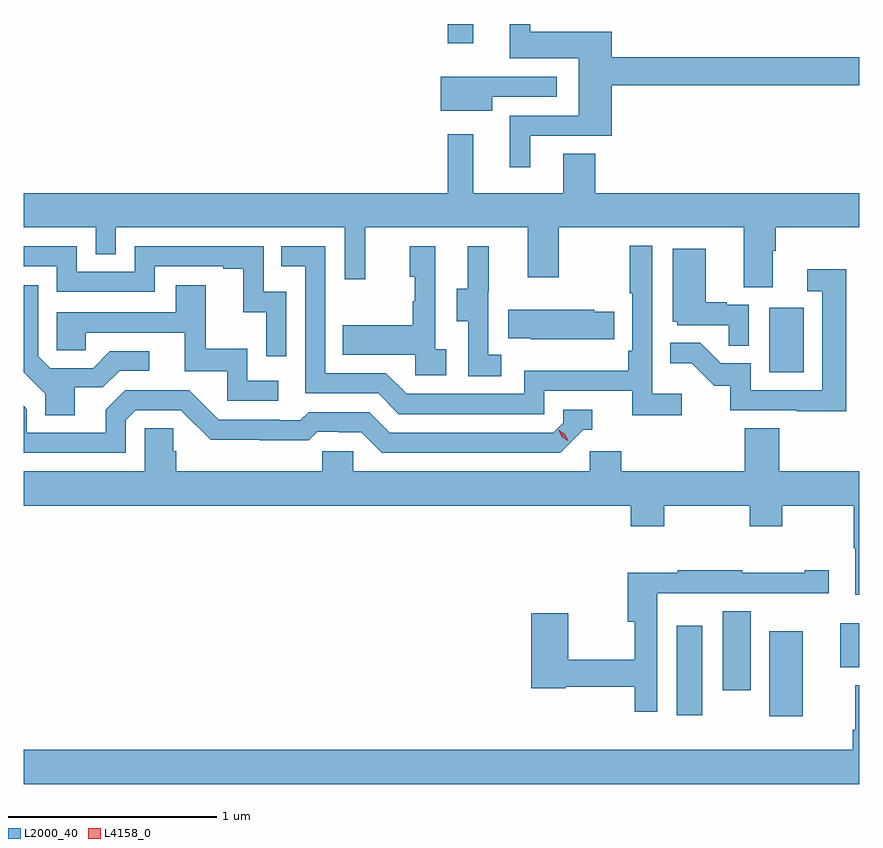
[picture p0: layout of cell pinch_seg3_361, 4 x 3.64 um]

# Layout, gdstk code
import gdstk
lib = gdstk.Library(unit=1e-6, precision=1e-09)
def R(c, l, rs):  # rectangles x0, y0, x1, y1
    for r in rs: c.add(gdstk.rectangle(r[:2], r[2:], *l))
def P(c, l, *ps):  # polygons
    for p in ps: c.add(gdstk.Polygon(p, *l))
L2000_40 = (2000, 40)
L4158_0 = (4158, 0)

pinch_seg3_361 = lib.new_cell('pinch_seg3_361')
R(pinch_seg3_361, L2000_40, [(1014.512,694.581,1014.673,694.987), (1014.068,694.584,1014.19,695.014), (1014.29,694.704,1014.424,695.084), (1014.851,694.814,1014.943,695.026), (1014.512,696.228,1014.676,696.535), (1012.974,697.803,1013.095,697.894)])
P(pinch_seg3_361, L2000_40, [(1013.368,697.359),(1013.759,697.359),(1013.759,697.6),(1014.943,697.6),(1014.943,697.736),(1013.759,697.736),(1013.759,697.858),(1013.368,697.858),(1013.368,697.894),(1013.27,697.894),(1013.27,697.73),(1013.6,697.73),(1013.6,697.455),(1013.27,697.455),(1013.27,697.209),(1013.368,697.209)],
  [(1013.185,697.545),(1013.494,697.545),(1013.494,697.641),(1013.181,697.641),(1013.181,697.642),(1012.94,697.642),(1012.94,697.478),(1013.185,697.478)],
  [(1014.529,696.808),(1014.542,696.808),(1014.542,696.92),(1014.943,696.92),(1014.943,697.084),(1013.678,697.084),(1013.678,697.274),(1013.525,697.274),(1013.525,697.084),(1013.095,697.084),(1013.095,697.366),(1012.974,697.366),(1012.974,697.084),(1010.943,697.084),(1010.943,696.92),(1011.288,696.92),(1011.288,696.793),(1011.384,696.793),(1011.384,696.92),(1012.479,696.92),(1012.479,696.672),(1012.577,696.672),(1012.577,696.92),(1013.357,696.92),(1013.357,696.681),(1013.505,696.681),(1013.505,696.92),(1014.389,696.92),(1014.389,696.634),(1014.529,696.634)],
  [(1014.094,696.124),(1013.952,696.124),(1013.952,696.832),(1013.844,696.832),(1013.844,696.604),(1013.856,696.604),(1013.856,696.331),(1013.836,696.331),(1013.836,696.235),(1013.34,696.235),(1013.34,696.123),(1012.776,696.123),(1012.677,696.222),(1012.386,696.222),(1012.386,696.831),(1012.177,696.831),(1012.177,696.735),(1012.29,696.735),(1012.29,696.126),(1012.64,696.126),(1012.739,696.027),(1013.436,696.027),(1013.436,696.138),(1013.855,696.138),(1013.855,696.022),(1014.094,696.022)],
  [(1012.2,696.612),(1012.092,696.612),(1012.092,696.831),(1011.474,696.831),(1011.474,696.708),(1011.198,696.708),(1011.198,696.831),(1010.943,696.831),(1010.943,696.735),(1011.102,696.735),(1011.102,696.612),(1011.57,696.612),(1011.57,696.735),(1011.899,696.735),(1011.899,696.723),(1011.995,696.723),(1011.995,696.515),(1012.104,696.515),(1012.104,696.303),(1012.2,696.303)],
  [(1012.966,696.338),(1012.914,696.338),(1012.914,696.829),(1012.79,696.829),(1012.79,696.684),(1012.816,696.684),(1012.816,696.566),(1012.806,696.566),(1012.806,696.451),(1012.471,696.451),(1012.471,696.311),(1012.818,696.311),(1012.818,696.213),(1012.966,696.213)],
  [(1013.23,696.311),(1013.166,696.311),(1013.166,696.615),(1013.168,696.615),(1013.168,696.829),(1013.069,696.829),(1013.069,696.627),(1013.015,696.627),(1013.015,696.472),(1013.07,696.472),(1013.07,696.208),(1013.23,696.208)],
  [(1014.414,696.549),(1014.308,696.549),(1014.308,696.562),(1014.208,696.562),(1014.208,696.817),(1014.05,696.817),(1014.05,696.468),(1014.072,696.468),(1014.072,696.453),(1014.319,696.453),(1014.319,696.355),(1014.414,696.355)],
  [(1014.881,696.721),(1014.693,696.721),(1014.693,696.615),(1014.765,696.615),(1014.765,696.141),(1014.423,696.141),(1014.423,696.27),(1014.279,696.27),(1014.181,696.368),(1014.037,696.368),(1014.037,696.269),(1014.141,696.269),(1014.248,696.162),(1014.325,696.162),(1014.325,696.045),(1014.643,696.045),(1014.643,696.04),(1014.881,696.04)],
  [(1011.187,696.154),(1011.322,696.154),(1011.402,696.234),(1011.544,696.234),(1011.544,696.327),(1011.356,696.327),(1011.275,696.246),(1011.069,696.246),(1011.012,696.303),(1011.012,696.643),(1010.943,696.643),(1010.943,696.228),(1011.047,696.124),(1011.047,696.022),(1011.187,696.022)],
  [(1012.162,696.186),(1012.014,696.186),(1012.014,696.34),(1011.815,696.34),(1011.815,696.643),(1011.671,696.643),(1011.671,696.513),(1011.102,696.513),(1011.102,696.333),(1011.239,696.333),(1011.239,696.417),(1011.713,696.417),(1011.713,696.231),(1011.918,696.231),(1011.918,696.09),(1012.162,696.09)],
  [(1013.771,696.516),(1013.673,696.516),(1013.673,696.526),(1013.263,696.526),(1013.263,696.389),(1013.371,696.389),(1013.371,696.386),(1013.771,696.386)],
  [(1011.432,695.997),(1011.48,696.045),(1011.696,696.045),(1011.838,695.903),(1012.074,695.903),(1012.074,695.901),(1012.307,695.901),(1012.349,695.943),(1012.452,695.943),(1012.452,695.94),(1012.559,695.94),(1012.658,695.841),(1013.511,695.841),(1013.622,695.952),(1013.665,695.952),(1013.665,696.048),(1013.526,696.048),(1013.526,695.985),(1013.478,695.937),(1012.695,695.937),(1012.596,696.036),(1012.307,696.036),(1012.268,695.997),(1012.169,695.997),(1012.169,696),(1011.876,696),(1011.735,696.141),(1011.429,696.141),(1011.335,696.047),(1011.335,695.937),(1010.958,695.937),(1010.958,696.051),(1010.943,696.066),(1010.943,695.841),(1011.432,695.841)],
  [(1014.943,695.752),(1014.56,695.752),(1014.56,695.96),(1014.395,695.96),(1014.395,695.752),(1013.804,695.752),(1013.804,695.85),(1013.652,695.85),(1013.652,695.752),(1012.521,695.752),(1012.521,695.85),(1012.371,695.85),(1012.371,695.752),(1011.674,695.752),(1011.674,695.85),(1011.659,695.85),(1011.659,695.96),(1011.522,695.96),(1011.522,695.752),(1010.943,695.752),(1010.943,695.588),(1013.849,695.588),(1013.849,695.489),(1014.009,695.489),(1014.009,695.588),(1014.418,695.588),(1014.418,695.489),(1014.573,695.489),(1014.573,695.588),(1014.916,695.588),(1014.916,695.384),(1014.923,695.384),(1014.923,695.163),(1014.943,695.163)],
  [(1013.976,695.168),(1014.186,695.168),(1014.186,695.169),(1014.52,695.169),(1014.52,695.168),(1014.796,695.168),(1014.796,695.278),(1014.683,695.278),(1014.683,695.268),(1014.383,695.268),(1014.383,695.278),(1014.073,695.278),(1014.073,695.268),(1013.834,695.268),(1013.834,695.033),(1013.868,695.033),(1013.868,694.85),(1013.55,694.85),(1013.55,695.074),(1013.372,695.074),(1013.372,694.714),(1013.538,694.714),(1013.538,694.722),(1013.868,694.722),(1013.868,694.602),(1013.976,694.602)],
  [(1014.943,694.729),(1014.923,694.729),(1014.923,694.516),(1014.911,694.516),(1014.911,694.42),(1010.943,694.42),(1010.943,694.256),(1014.943,694.256)])
P(pinch_seg3_361, L4158_0, [(1013.548,695.898),(1013.518,695.919),(1013.503,695.951),(1013.503,695.952),(1013.503,695.952),(1013.533,695.932),(1013.549,695.899),(1013.549,695.898)])

lib.write_gds('pinch_seg3_361.gds')
